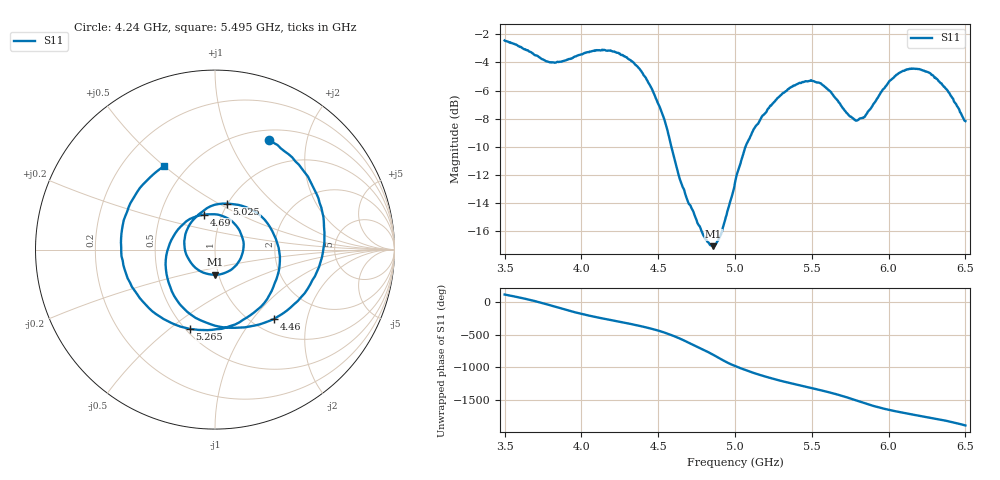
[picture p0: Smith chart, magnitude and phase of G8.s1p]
!Agilent Technologies,N5230A,MY46400865,A.07.50.13
!Agilent N5230A: A.07.50.13
!Date: Monday, December 18, 2023 15:31:19
!Correction: S11(Full 1 Port(1))
!S1P File: Measurement: S11:
# Hz S  dB  R 50
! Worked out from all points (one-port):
!   601 points, 3.5 GHz to 6.5 GHz, reference 50 ohm
!   lowest |S11| = -17.1 dB at 4.86 GHz (marker M1), VSWR 1.33, Z = 48 - j13.7 ohm
!   |S11| at or under -10 dB: 4.586 GHz to 5.068 GHz (482.7 MHz wide, 10 % of centre)
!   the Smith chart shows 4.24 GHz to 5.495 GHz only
!   S11 on the Smith chart (normalised r, x): 4.24 GHz: 0.62, +1.42; 4.46 GHz: 1.23, -1.28; 4.69 GHz: 0.83, +0.34; 5.025 GHz: 0.99, +0.55; 5.265 GHz: 0.52, -0.59; 5.495 GHz: 0.38, +0.50
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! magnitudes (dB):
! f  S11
! 3.5 GHz  -2.4
! 3.78 GHz  -3.9
! 3.875 GHz  -3.9
! 4.09 GHz  -3.1
! 4.24 GHz  -3.3
! 4.25 GHz  -3.4
! 4.37 GHz  -4.4
! 4.46 GHz  -5.9
! 4.545 GHz  -8.2
! 4.625 GHz  -11.7
! 4.69 GHz  -13.8
! 4.805 GHz  -16.5
! 4.86 GHz  -17.1
! 4.91 GHz  -16.2
! 5 GHz  -12.6
! 5.025 GHz  -11.5
! 5.12 GHz  -8.8
! 5.265 GHz  -6.7
! 5.375 GHz  -5.7
! 5.495 GHz  -5.3
! 5.61 GHz  -6.0
! 5.75 GHz  -7.9
! 5.84 GHz  -7.9
! 6.01 GHz  -5.3
! 6.125 GHz  -4.5
! 6.3 GHz  -5.1
! 6.39 GHz  -6.1
! 6.5 GHz  -8.2
